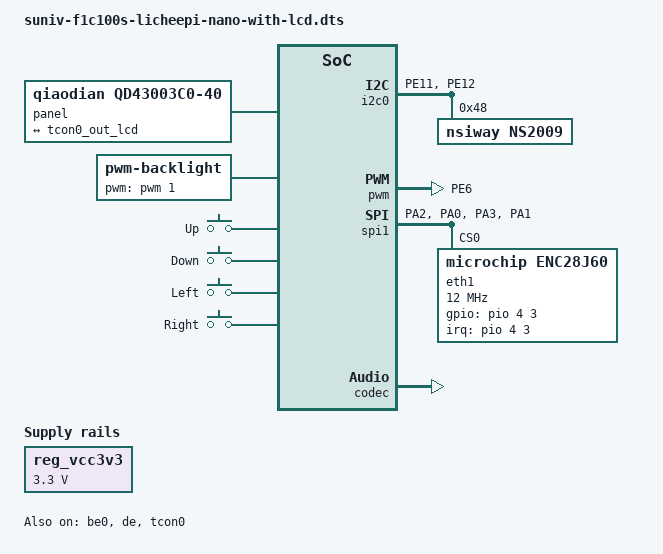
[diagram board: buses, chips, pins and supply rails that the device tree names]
/*
 * Copyright (C) 2018 Icenowy Zheng <icenowy@aosc.io>
 *
 * SPDX-License-Identifier: (GPL-2.0+ OR X11)
 */

#include "suniv-f1c100s-licheepi-nano.dts"
#include <dt-bindings/pwm/pwm.h>
#include <dt-bindings/input/input.h>
#include <dt-bindings/interrupt-controller/irq.h>

/ {
	aliases {
		spi1 = &spi1;
	};

	panel: panel {
		/* compatible = "urt,umsh-8596md-t", "simple-panel"; */
		compatible = "qiaodian,qd43003c0-40", "simple-panel";
		#address-cells = <1>;
		#size-cells = <0>;

		port@0 {
			reg = <0>;
			#address-cells = <1>;
			#size-cells = <0>;

			panel_input: endpoint@0 {
				reg = <0>;
				remote-endpoint = <&tcon0_out_lcd>;
			};
		};
	};

	i2c0: i2c@1C27000 {
		compatible = "allwinner,sun6i-a31-i2c";
		reg = <0x01C27000 0x400>;
		interrupts = <7>;
		clocks = <&ccu CLK_BUS_I2C0>;
		resets = <&ccu RST_BUS_I2C0>;
		pinctrl-names = "default";
		pinctrl-0 = <&i2c0_pins>;
		status = "disabled";
		#address-cells = <1>;
		#size-cells = <0>;
	};

	pwm: pwm@1c21000 {
		#pwm-cells = <3>;
		compatible = "allwinner,sun7i-a20-pwm";
		reg = <0x01C21000 0x08>;
		clocks = <&osc24M>;
		pinctrl-names = "default";
		pinctrl-0 = <&pwm1_pin>;
		status = "okay";
	};

	backlight: backlight {
		compatible = "pwm-backlight";
		pwms = <&pwm 1 1000000 0>;
		brightness-levels = <0 4 8 16 32 64 128 255>;
		default-brightness-level = <6>;
		status = "okay";
	};

	reg_vcc3v3: vcc3v3 {
                compatible = "regulator-fixed";
                regulator-name = "vcc3v3";
                regulator-min-microvolt = <3300000>;
                regulator-max-microvolt = <3300000>;
        };

	lradc: lradc@1C23400 {
        	vref-supply = <&reg_vcc3v3>;

                compatible = "allwinner,sun4i-a10-lradc-keys";
                reg = <0x01C23400 0x400>;
                interrupts = <22>;
                status = "okay";
        };
};

&lradc {
        // vref-supply = <&reg_vcc3v0>;

        // keymap for low-resolution ADC input driver
        // (pulling voltage down to different levels 0V-2V on LRADC pin causes this to emit different
        // keyboard codes - pull pin back up to 3.3V when button is off)
        button-200 {
                label = "Up";
                linux,code = <KEY_UP>;
                channel = <0>;
                voltage = <200000>;
        };

        button-400 {
                label = "Down";
                linux,code = <KEY_DOWN>;
                channel = <0>;
                voltage = <400000>;
        };

        button-600 {
                label = "Left";
                linux,code = <KEY_LEFT>;
                channel = <0>;
                voltage = <600000>;
        };

        button-800 {
                label = "Right";
                linux,code = <KEY_RIGHT>;
                channel = <0>;
                voltage = <800000>;
        };
};

&be0 {
	status = "okay";
};

&de {
	status = "okay";
};

&tcon0 {
	pinctrl-names = "default";
	pinctrl-0 = <&lcd_rgb666_pins>;
	status = "okay";
};

&tcon0_out {
	tcon0_out_lcd: endpoint@0 {
		reg = <0>;
		remote-endpoint = <&panel_input>;
	};
};

&pio {
	i2c0_pins: i2c0 {
		pins = "PE11", "PE12";
		function = "i2c0";
		bias-pull-up;
	};

	pwm1_pin: pwm1_pin {
		pins = "PE6";
		function = "pwm1";
	};

	spi1_pins_a: spi1-pins-pc {
		/* CLK, CS, MISO, MOSI */
		pins = "PA2", "PA0", "PA3", "PA1";
		function = "spi1";
	};

	enc28j60_pins: enc28j60_pins {
		pins = "PE3";
		function = "irq";
		bias-pull-up;
	};
};

&spi1 {
	pinctrl-names = "default";
	pinctrl-0 = <&spi1_pins_a>;
	status = "okay";

	/* spidev@0x00 { */
	eth1: enc28j60@0 {
                compatible = "microchip,enc28j60";
                reg = <0>;
		interrupt-parent = <&pio>;
		interrupts = <4 3 2>; /* 4 3:PE3, 2:IRQ_TYPE_EDGE_FALLING */
		gpios = <&pio 4 3 GPIO_ACTIVE_HIGH>;
		spi-max-frequency = <12000000>;
		status = "okay";
		/* These are required only if internal pull-up is used for the IRQ pin */
		pinctrl-names = "default";
		pinctrl-0 = <&enc28j60_pins>;
	};
};

&i2c0 {
    pinctrl-0 = <&i2c0_pins>;
    pinctrl-names = "default";
    status = "okay";

    ns2009: ns2009@48 {
        compatible = "nsiway,ns2009";
        reg = <0x48>;
    };
};

&codec {
	allwinner,audio-routing =
		"Headphone", "HP",
		"Headphone", "HPCOM",
		"MIC", "Mic";
	status = "okay";
};
